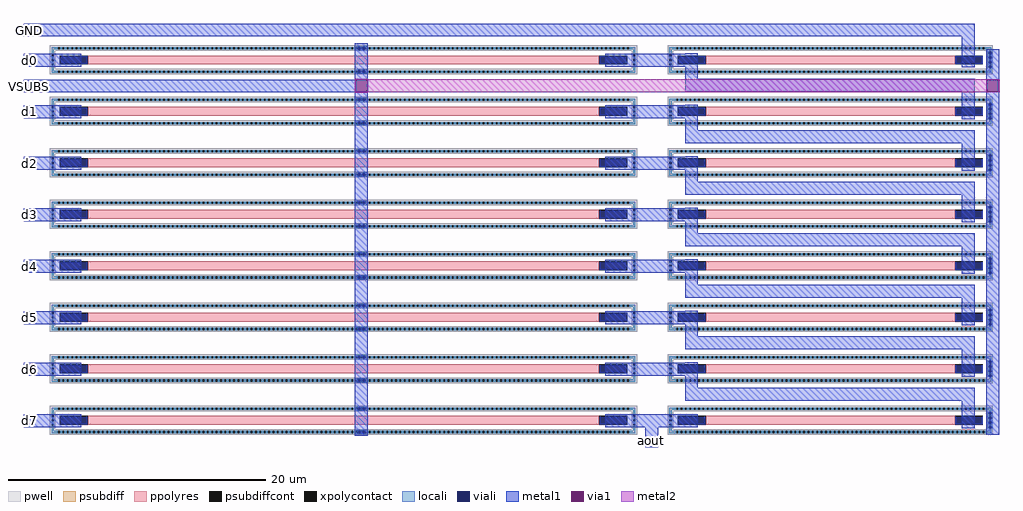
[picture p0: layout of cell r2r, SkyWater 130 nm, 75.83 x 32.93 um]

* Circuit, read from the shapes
.subckt r2r aout d7 d6 d5 d4 d3 d2 d1 d0 GND VSUBS
XR1 aout d7 VSUBS sky130_fd_pr__res_high_po w=0.69 l=39.74
XR2 n1 d6 VSUBS sky130_fd_pr__res_high_po w=0.69 l=39.74
XR3 n2 d5 VSUBS sky130_fd_pr__res_high_po w=0.69 l=39.74
XR4 n3 d4 VSUBS sky130_fd_pr__res_high_po w=0.69 l=39.74
XR5 n4 d3 VSUBS sky130_fd_pr__res_high_po w=0.69 l=39.74
XR6 n5 d2 VSUBS sky130_fd_pr__res_high_po w=0.69 l=39.74
XR7 n6 d1 VSUBS sky130_fd_pr__res_high_po w=0.69 l=39.74
XR8 n7 d0 VSUBS sky130_fd_pr__res_high_po w=0.69 l=39.74
XR9 n1 aout VSUBS sky130_fd_pr__res_high_po w=0.69 l=19.39
XR10 n2 n1 VSUBS sky130_fd_pr__res_high_po w=0.69 l=19.39
XR11 n3 n2 VSUBS sky130_fd_pr__res_high_po w=0.69 l=19.39
XR12 n4 n3 VSUBS sky130_fd_pr__res_high_po w=0.69 l=19.39
XR13 n5 n4 VSUBS sky130_fd_pr__res_high_po w=0.69 l=19.39
XR14 n6 n5 VSUBS sky130_fd_pr__res_high_po w=0.69 l=19.39
XR15 n7 n6 VSUBS sky130_fd_pr__res_high_po w=0.69 l=19.39
XR16 GND n7 VSUBS sky130_fd_pr__res_high_po w=0.69 l=19.39
.ends

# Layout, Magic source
magic
tech sky130A
magscale 1 2
<< locali >>
rect 4772 431 4932 448
rect 4772 397 4799 431
rect 4833 397 4871 431
rect 4905 397 4932 431
rect 4772 380 4932 397
rect 14586 361 14658 362
rect 14586 327 14605 361
rect 14639 327 14658 361
rect 14586 289 14658 327
rect 14586 255 14605 289
rect 14639 255 14658 289
rect 14586 217 14658 255
rect 14586 183 14605 217
rect 14639 183 14658 217
rect 14586 145 14658 183
rect 14586 111 14605 145
rect 14639 111 14658 145
rect 14586 110 14658 111
rect 4772 71 4932 88
rect 4772 37 4799 71
rect 4833 37 4871 71
rect 4905 37 4932 71
rect 4772 20 4932 37
rect 4772 -369 4932 -352
rect 4772 -403 4799 -369
rect 4833 -403 4871 -369
rect 4905 -403 4932 -369
rect 4772 -420 4932 -403
rect 14586 -439 14658 -438
rect 14586 -473 14605 -439
rect 14639 -473 14658 -439
rect 14586 -511 14658 -473
rect 14586 -545 14605 -511
rect 14639 -545 14658 -511
rect 14586 -583 14658 -545
rect 14586 -617 14605 -583
rect 14639 -617 14658 -583
rect 14586 -655 14658 -617
rect 14586 -689 14605 -655
rect 14639 -689 14658 -655
rect 14586 -690 14658 -689
rect 4772 -729 4932 -712
rect 4772 -763 4799 -729
rect 4833 -763 4871 -729
rect 4905 -763 4932 -729
rect 4772 -780 4932 -763
rect 4772 -1169 4932 -1152
rect 4772 -1203 4799 -1169
rect 4833 -1203 4871 -1169
rect 4905 -1203 4932 -1169
rect 4772 -1220 4932 -1203
rect 14586 -1239 14658 -1238
rect 14586 -1273 14605 -1239
rect 14639 -1273 14658 -1239
rect 14586 -1311 14658 -1273
rect 14586 -1345 14605 -1311
rect 14639 -1345 14658 -1311
rect 14586 -1383 14658 -1345
rect 14586 -1417 14605 -1383
rect 14639 -1417 14658 -1383
rect 14586 -1455 14658 -1417
rect 14586 -1489 14605 -1455
rect 14639 -1489 14658 -1455
rect 14586 -1490 14658 -1489
rect 4772 -1529 4932 -1512
rect 4772 -1563 4799 -1529
rect 4833 -1563 4871 -1529
rect 4905 -1563 4932 -1529
rect 4772 -1580 4932 -1563
rect 4772 -1969 4932 -1952
rect 4772 -2003 4799 -1969
rect 4833 -2003 4871 -1969
rect 4905 -2003 4932 -1969
rect 4772 -2020 4932 -2003
rect 14586 -2039 14658 -2038
rect 14586 -2073 14605 -2039
rect 14639 -2073 14658 -2039
rect 14586 -2111 14658 -2073
rect 14586 -2145 14605 -2111
rect 14639 -2145 14658 -2111
rect 14586 -2183 14658 -2145
rect 14586 -2217 14605 -2183
rect 14639 -2217 14658 -2183
rect 14586 -2255 14658 -2217
rect 14586 -2289 14605 -2255
rect 14639 -2289 14658 -2255
rect 14586 -2290 14658 -2289
rect 4772 -2329 4932 -2312
rect 4772 -2363 4799 -2329
rect 4833 -2363 4871 -2329
rect 4905 -2363 4932 -2329
rect 4772 -2380 4932 -2363
rect 4772 -2769 4932 -2752
rect 4772 -2803 4799 -2769
rect 4833 -2803 4871 -2769
rect 4905 -2803 4932 -2769
rect 4772 -2820 4932 -2803
rect 14586 -2839 14658 -2838
rect 14586 -2873 14605 -2839
rect 14639 -2873 14658 -2839
rect 14586 -2911 14658 -2873
rect 14586 -2945 14605 -2911
rect 14639 -2945 14658 -2911
rect 14586 -2983 14658 -2945
rect 14586 -3017 14605 -2983
rect 14639 -3017 14658 -2983
rect 14586 -3055 14658 -3017
rect 14586 -3089 14605 -3055
rect 14639 -3089 14658 -3055
rect 14586 -3090 14658 -3089
rect 4772 -3129 4932 -3112
rect 4772 -3163 4799 -3129
rect 4833 -3163 4871 -3129
rect 4905 -3163 4932 -3129
rect 4772 -3180 4932 -3163
rect 4772 -3569 4932 -3552
rect 4772 -3603 4799 -3569
rect 4833 -3603 4871 -3569
rect 4905 -3603 4932 -3569
rect 4772 -3620 4932 -3603
rect 14586 -3639 14658 -3638
rect 14586 -3673 14605 -3639
rect 14639 -3673 14658 -3639
rect 14586 -3711 14658 -3673
rect 14586 -3745 14605 -3711
rect 14639 -3745 14658 -3711
rect 14586 -3783 14658 -3745
rect 14586 -3817 14605 -3783
rect 14639 -3817 14658 -3783
rect 14586 -3855 14658 -3817
rect 14586 -3889 14605 -3855
rect 14639 -3889 14658 -3855
rect 14586 -3890 14658 -3889
rect 4772 -3929 4932 -3912
rect 4772 -3963 4799 -3929
rect 4833 -3963 4871 -3929
rect 4905 -3963 4932 -3929
rect 4772 -3980 4932 -3963
rect 4772 -4369 4932 -4352
rect 4772 -4403 4799 -4369
rect 4833 -4403 4871 -4369
rect 4905 -4403 4932 -4369
rect 4772 -4420 4932 -4403
rect 14586 -4439 14658 -4438
rect 14586 -4473 14605 -4439
rect 14639 -4473 14658 -4439
rect 14586 -4511 14658 -4473
rect 14586 -4545 14605 -4511
rect 14639 -4545 14658 -4511
rect 14586 -4583 14658 -4545
rect 14586 -4617 14605 -4583
rect 14639 -4617 14658 -4583
rect 14586 -4655 14658 -4617
rect 14586 -4689 14605 -4655
rect 14639 -4689 14658 -4655
rect 14586 -4690 14658 -4689
rect 4772 -4729 4932 -4712
rect 4772 -4763 4799 -4729
rect 4833 -4763 4871 -4729
rect 4905 -4763 4932 -4729
rect 4772 -4780 4932 -4763
rect 4772 -5169 4932 -5152
rect 4772 -5203 4799 -5169
rect 4833 -5203 4871 -5169
rect 4905 -5203 4932 -5169
rect 4772 -5220 4932 -5203
rect 14586 -5239 14658 -5238
rect 14586 -5273 14605 -5239
rect 14639 -5273 14658 -5239
rect 14586 -5311 14658 -5273
rect 14586 -5345 14605 -5311
rect 14639 -5345 14658 -5311
rect 14586 -5383 14658 -5345
rect 14586 -5417 14605 -5383
rect 14639 -5417 14658 -5383
rect 14586 -5455 14658 -5417
rect 14586 -5489 14605 -5455
rect 14639 -5489 14658 -5455
rect 14586 -5490 14658 -5489
rect 4772 -5529 4932 -5512
rect 4772 -5563 4799 -5529
rect 4833 -5563 4871 -5529
rect 4905 -5563 4932 -5529
rect 4772 -5580 4932 -5563
<< viali >>
rect 4799 397 4833 431
rect 4871 397 4905 431
rect 14605 327 14639 361
rect 14605 255 14639 289
rect 14605 183 14639 217
rect 14605 111 14639 145
rect 4799 37 4833 71
rect 4871 37 4905 71
rect 4799 -403 4833 -369
rect 4871 -403 4905 -369
rect 14605 -473 14639 -439
rect 14605 -545 14639 -511
rect 14605 -617 14639 -583
rect 14605 -689 14639 -655
rect 4799 -763 4833 -729
rect 4871 -763 4905 -729
rect 4799 -1203 4833 -1169
rect 4871 -1203 4905 -1169
rect 14605 -1273 14639 -1239
rect 14605 -1345 14639 -1311
rect 14605 -1417 14639 -1383
rect 14605 -1489 14639 -1455
rect 4799 -1563 4833 -1529
rect 4871 -1563 4905 -1529
rect 4799 -2003 4833 -1969
rect 4871 -2003 4905 -1969
rect 14605 -2073 14639 -2039
rect 14605 -2145 14639 -2111
rect 14605 -2217 14639 -2183
rect 14605 -2289 14639 -2255
rect 4799 -2363 4833 -2329
rect 4871 -2363 4905 -2329
rect 4799 -2803 4833 -2769
rect 4871 -2803 4905 -2769
rect 14605 -2873 14639 -2839
rect 14605 -2945 14639 -2911
rect 14605 -3017 14639 -2983
rect 14605 -3089 14639 -3055
rect 4799 -3163 4833 -3129
rect 4871 -3163 4905 -3129
rect 4799 -3603 4833 -3569
rect 4871 -3603 4905 -3569
rect 14605 -3673 14639 -3639
rect 14605 -3745 14639 -3711
rect 14605 -3817 14639 -3783
rect 14605 -3889 14639 -3855
rect 4799 -3963 4833 -3929
rect 4871 -3963 4905 -3929
rect 4799 -4403 4833 -4369
rect 4871 -4403 4905 -4369
rect 14605 -4473 14639 -4439
rect 14605 -4545 14639 -4511
rect 14605 -4617 14639 -4583
rect 14605 -4689 14639 -4655
rect 4799 -4763 4833 -4729
rect 4871 -4763 4905 -4729
rect 4799 -5203 4833 -5169
rect 4871 -5203 4905 -5169
rect 14605 -5273 14639 -5239
rect 14605 -5345 14639 -5311
rect 14605 -5417 14639 -5383
rect 14605 -5489 14639 -5455
rect 4799 -5563 4833 -5529
rect 4871 -5563 4905 -5529
<< metal1 >>
rect -400 600 14380 800
rect 4750 431 4950 496
rect 4750 397 4799 431
rect 4833 397 4871 431
rect 4905 397 4950 431
rect -400 130 500 330
rect 4750 71 4950 397
rect 9880 330 10080 336
rect 8636 130 10080 330
rect 4750 37 4799 71
rect 4833 37 4871 71
rect 4905 37 4950 71
rect 4750 -66 4950 37
rect 9880 -60 10080 130
rect 14180 118 14380 600
rect 14560 361 14760 398
rect 14560 327 14605 361
rect 14639 327 14760 361
rect 14560 289 14760 327
rect 14560 255 14605 289
rect 14639 255 14760 289
rect 14560 217 14760 255
rect 14560 183 14605 217
rect 14639 183 14760 217
rect 14560 145 14760 183
rect 14560 111 14605 145
rect 14639 111 14760 145
rect 4744 -70 4956 -66
rect -400 -76 4956 -70
rect -400 -256 4760 -76
rect 4940 -256 4956 -76
rect -400 -266 4956 -256
rect 9880 -260 14378 -60
rect -400 -270 4950 -266
rect 4750 -369 4950 -270
rect 4750 -403 4799 -369
rect 4833 -403 4871 -369
rect 4905 -403 4950 -369
rect -400 -670 500 -470
rect 4750 -729 4950 -403
rect 9880 -470 10080 -464
rect 8636 -670 10080 -470
rect 4750 -763 4799 -729
rect 4833 -763 4871 -729
rect 4905 -763 4950 -729
rect 4750 -1169 4950 -763
rect 9880 -860 10080 -670
rect 14178 -688 14378 -260
rect 14560 -76 14760 111
rect 14560 -256 14570 -76
rect 14750 -256 14760 -76
rect 14560 -439 14760 -256
rect 14560 -473 14605 -439
rect 14639 -473 14760 -439
rect 14560 -511 14760 -473
rect 14560 -545 14605 -511
rect 14639 -545 14760 -511
rect 14560 -583 14760 -545
rect 14560 -617 14605 -583
rect 14639 -617 14760 -583
rect 14560 -655 14760 -617
rect 14560 -689 14605 -655
rect 14639 -689 14760 -655
rect 9880 -1060 14378 -860
rect 4750 -1203 4799 -1169
rect 4833 -1203 4871 -1169
rect 4905 -1203 4950 -1169
rect -400 -1470 500 -1270
rect 4750 -1529 4950 -1203
rect 9880 -1270 10080 -1264
rect 8636 -1470 10080 -1270
rect 4750 -1563 4799 -1529
rect 4833 -1563 4871 -1529
rect 4905 -1563 4950 -1529
rect 4750 -1969 4950 -1563
rect 9880 -1660 10080 -1470
rect 14178 -1488 14378 -1060
rect 14560 -1239 14760 -689
rect 14560 -1273 14605 -1239
rect 14639 -1273 14760 -1239
rect 14560 -1311 14760 -1273
rect 14560 -1345 14605 -1311
rect 14639 -1345 14760 -1311
rect 14560 -1383 14760 -1345
rect 14560 -1417 14605 -1383
rect 14639 -1417 14760 -1383
rect 14560 -1455 14760 -1417
rect 14560 -1489 14605 -1455
rect 14639 -1489 14760 -1455
rect 9880 -1860 14378 -1660
rect 4750 -2003 4799 -1969
rect 4833 -2003 4871 -1969
rect 4905 -2003 4950 -1969
rect -400 -2270 500 -2070
rect 4750 -2329 4950 -2003
rect 9880 -2070 10080 -2064
rect 8636 -2270 10080 -2070
rect 4750 -2363 4799 -2329
rect 4833 -2363 4871 -2329
rect 4905 -2363 4950 -2329
rect 4750 -2769 4950 -2363
rect 9880 -2460 10080 -2270
rect 14178 -2288 14378 -1860
rect 14560 -2039 14760 -1489
rect 14560 -2073 14605 -2039
rect 14639 -2073 14760 -2039
rect 14560 -2111 14760 -2073
rect 14560 -2145 14605 -2111
rect 14639 -2145 14760 -2111
rect 14560 -2183 14760 -2145
rect 14560 -2217 14605 -2183
rect 14639 -2217 14760 -2183
rect 14560 -2255 14760 -2217
rect 14560 -2289 14605 -2255
rect 14639 -2289 14760 -2255
rect 9880 -2660 14378 -2460
rect 4750 -2803 4799 -2769
rect 4833 -2803 4871 -2769
rect 4905 -2803 4950 -2769
rect -400 -3070 500 -2870
rect 4750 -3129 4950 -2803
rect 9880 -2870 10080 -2864
rect 8636 -3070 10080 -2870
rect 4750 -3163 4799 -3129
rect 4833 -3163 4871 -3129
rect 4905 -3163 4950 -3129
rect 4750 -3569 4950 -3163
rect 9880 -3260 10080 -3070
rect 14178 -3088 14378 -2660
rect 14560 -2839 14760 -2289
rect 14560 -2873 14605 -2839
rect 14639 -2873 14760 -2839
rect 14560 -2911 14760 -2873
rect 14560 -2945 14605 -2911
rect 14639 -2945 14760 -2911
rect 14560 -2983 14760 -2945
rect 14560 -3017 14605 -2983
rect 14639 -3017 14760 -2983
rect 14560 -3055 14760 -3017
rect 14560 -3089 14605 -3055
rect 14639 -3089 14760 -3055
rect 9880 -3460 14378 -3260
rect 4750 -3603 4799 -3569
rect 4833 -3603 4871 -3569
rect 4905 -3603 4950 -3569
rect -400 -3870 500 -3670
rect 4750 -3929 4950 -3603
rect 9880 -3670 10080 -3664
rect 8636 -3870 10080 -3670
rect 4750 -3963 4799 -3929
rect 4833 -3963 4871 -3929
rect 4905 -3963 4950 -3929
rect 4750 -4369 4950 -3963
rect 9880 -4060 10080 -3870
rect 14178 -3888 14378 -3460
rect 14560 -3639 14760 -3089
rect 14560 -3673 14605 -3639
rect 14639 -3673 14760 -3639
rect 14560 -3711 14760 -3673
rect 14560 -3745 14605 -3711
rect 14639 -3745 14760 -3711
rect 14560 -3783 14760 -3745
rect 14560 -3817 14605 -3783
rect 14639 -3817 14760 -3783
rect 14560 -3855 14760 -3817
rect 14560 -3889 14605 -3855
rect 14639 -3889 14760 -3855
rect 9880 -4260 14378 -4060
rect 4750 -4403 4799 -4369
rect 4833 -4403 4871 -4369
rect 4905 -4403 4950 -4369
rect -400 -4670 500 -4470
rect 4750 -4729 4950 -4403
rect 9880 -4470 10080 -4464
rect 8636 -4670 10080 -4470
rect 4750 -4763 4799 -4729
rect 4833 -4763 4871 -4729
rect 4905 -4763 4950 -4729
rect 4750 -5169 4950 -4763
rect 9880 -4860 10080 -4670
rect 14178 -4688 14378 -4260
rect 14560 -4439 14760 -3889
rect 14560 -4473 14605 -4439
rect 14639 -4473 14760 -4439
rect 14560 -4511 14760 -4473
rect 14560 -4545 14605 -4511
rect 14639 -4545 14760 -4511
rect 14560 -4583 14760 -4545
rect 14560 -4617 14605 -4583
rect 14639 -4617 14760 -4583
rect 14560 -4655 14760 -4617
rect 14560 -4689 14605 -4655
rect 14639 -4689 14760 -4655
rect 9880 -5060 14378 -4860
rect 4750 -5203 4799 -5169
rect 4833 -5203 4871 -5169
rect 4905 -5203 4950 -5169
rect -400 -5470 500 -5270
rect 4750 -5529 4950 -5203
rect 8636 -5470 10080 -5270
rect 4750 -5563 4799 -5529
rect 4833 -5563 4871 -5529
rect 4905 -5563 4950 -5529
rect 4750 -5606 4950 -5563
rect 9260 -5786 9460 -5470
rect 14178 -5488 14378 -5060
rect 14560 -5239 14760 -4689
rect 14560 -5273 14605 -5239
rect 14639 -5273 14760 -5239
rect 14560 -5311 14760 -5273
rect 14560 -5345 14605 -5311
rect 14639 -5345 14760 -5311
rect 14560 -5383 14760 -5345
rect 14560 -5417 14605 -5383
rect 14639 -5417 14760 -5383
rect 14560 -5455 14760 -5417
rect 14560 -5489 14605 -5455
rect 14639 -5489 14760 -5455
rect 14560 -5590 14760 -5489
<< via1 >>
rect 4760 -256 4940 -76
rect 14570 -256 14750 -76
<< metal2 >>
rect 4750 -66 4950 -60
rect 4750 -76 14766 -66
rect 4750 -256 4760 -76
rect 4940 -256 14570 -76
rect 14750 -256 14766 -76
rect 4750 -266 14766 -256
rect 4750 -272 4950 -266
use sky130_fd_pr__res_high_po_0p69_5ANSK2  XR1
transform 0 1 4572 -1 0 235
box -225 -4562 225 4562
use sky130_fd_pr__res_high_po_0p69_5ANSK2  XR2
transform 0 1 4572 -1 0 -565
box -225 -4562 225 4562
use sky130_fd_pr__res_high_po_0p69_5ANSK2  XR3
transform 0 1 4572 -1 0 -1365
box -225 -4562 225 4562
use sky130_fd_pr__res_high_po_0p69_5ANSK2  XR4
transform 0 1 4572 -1 0 -2165
box -225 -4562 225 4562
use sky130_fd_pr__res_high_po_0p69_5ANSK2  XR5
transform 0 1 4572 -1 0 -2965
box -225 -4562 225 4562
use sky130_fd_pr__res_high_po_0p69_5ANSK2  XR6
transform 0 1 4572 -1 0 -3765
box -225 -4562 225 4562
use sky130_fd_pr__res_high_po_0p69_5ANSK2  XR7
transform 0 1 4572 -1 0 -4565
box -225 -4562 225 4562
use sky130_fd_pr__res_high_po_0p69_5ANSK2  XR8
transform 0 1 4572 -1 0 -5365
box -225 -4562 225 4562
use sky130_fd_pr__res_high_po_0p69_5G96UM  XR9
transform 0 1 12137 -1 0 235
box -225 -2527 225 2527
use sky130_fd_pr__res_high_po_0p69_5G96UM  XR10
transform 0 1 12137 -1 0 -565
box -225 -2527 225 2527
use sky130_fd_pr__res_high_po_0p69_5G96UM  XR11
transform 0 1 12137 -1 0 -1365
box -225 -2527 225 2527
use sky130_fd_pr__res_high_po_0p69_5G96UM  XR12
transform 0 1 12137 -1 0 -2165
box -225 -2527 225 2527
use sky130_fd_pr__res_high_po_0p69_5G96UM  XR13
transform 0 1 12137 -1 0 -2965
box -225 -2527 225 2527
use sky130_fd_pr__res_high_po_0p69_5G96UM  XR14
transform 0 1 12137 -1 0 -3765
box -225 -2527 225 2527
use sky130_fd_pr__res_high_po_0p69_5G96UM  XR15
transform 0 1 12137 -1 0 -4565
box -225 -2527 225 2527
use sky130_fd_pr__res_high_po_0p69_5G96UM  XR16
transform 0 1 12137 -1 0 -5365
box -225 -2527 225 2527
<< labels >>
flabel metal1 s 9260 -5786 9460 -5586 0 FreeSans 320 0 0 0 aout
port 1 nsew
flabel metal1 s -400 -5470 -200 -5270 0 FreeSans 320 0 0 0 d7
port 2 nsew
flabel metal1 s -400 -4670 -200 -4470 0 FreeSans 320 0 0 0 d6
port 3 nsew
flabel metal1 s -400 -3870 -200 -3670 0 FreeSans 320 0 0 0 d5
port 4 nsew
flabel metal1 s -400 -3070 -200 -2870 0 FreeSans 320 0 0 0 d4
port 5 nsew
flabel metal1 s -400 -2270 -200 -2070 0 FreeSans 320 0 0 0 d3
port 6 nsew
flabel metal1 s -400 -1470 -200 -1270 0 FreeSans 320 0 0 0 d2
port 7 nsew
flabel metal1 s -400 -670 -200 -470 0 FreeSans 320 0 0 0 d1
port 8 nsew
flabel metal1 s -400 130 -200 330 0 FreeSans 320 0 0 0 d0
port 9 nsew
flabel metal1 s -400 600 -200 800 0 FreeSans 320 0 0 0 GND
port 10 nsew
flabel metal1 s -400 -270 -200 -70 0 FreeSans 320 0 0 0 VSUBS
port 11 nsew
<< properties >>
string GDS_END 45798
string GDS_FILE /home/anton/projects/tt06-grab-bag/gds/tt_um_algofoogle_tt06_grab_bag.gds
string GDS_START 32528
<< end >>

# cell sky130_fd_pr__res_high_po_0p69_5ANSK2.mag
magic
tech sky130A
magscale 1 2
<< pwell >>
rect -225 4476 225 4562
rect -225 -4476 -139 4476
rect 139 -4476 225 4476
rect -225 -4562 225 -4476
<< psubdiff >>
rect -199 4502 -85 4536
rect -51 4502 -17 4536
rect 17 4502 51 4536
rect 85 4502 199 4536
rect -199 4437 -165 4502
rect 165 4437 199 4502
rect -199 4369 -165 4403
rect -199 4301 -165 4335
rect -199 4233 -165 4267
rect -199 4165 -165 4199
rect -199 4097 -165 4131
rect -199 4029 -165 4063
rect -199 3961 -165 3995
rect -199 3893 -165 3927
rect -199 3825 -165 3859
rect -199 3757 -165 3791
rect -199 3689 -165 3723
rect -199 3621 -165 3655
rect -199 3553 -165 3587
rect -199 3485 -165 3519
rect -199 3417 -165 3451
rect -199 3349 -165 3383
rect -199 3281 -165 3315
rect -199 3213 -165 3247
rect -199 3145 -165 3179
rect -199 3077 -165 3111
rect -199 3009 -165 3043
rect -199 2941 -165 2975
rect -199 2873 -165 2907
rect -199 2805 -165 2839
rect -199 2737 -165 2771
rect -199 2669 -165 2703
rect -199 2601 -165 2635
rect -199 2533 -165 2567
rect -199 2465 -165 2499
rect -199 2397 -165 2431
rect -199 2329 -165 2363
rect -199 2261 -165 2295
rect -199 2193 -165 2227
rect -199 2125 -165 2159
rect -199 2057 -165 2091
rect -199 1989 -165 2023
rect -199 1921 -165 1955
rect -199 1853 -165 1887
rect -199 1785 -165 1819
rect -199 1717 -165 1751
rect -199 1649 -165 1683
rect -199 1581 -165 1615
rect -199 1513 -165 1547
rect -199 1445 -165 1479
rect -199 1377 -165 1411
rect -199 1309 -165 1343
rect -199 1241 -165 1275
rect -199 1173 -165 1207
rect -199 1105 -165 1139
rect -199 1037 -165 1071
rect -199 969 -165 1003
rect -199 901 -165 935
rect -199 833 -165 867
rect -199 765 -165 799
rect -199 697 -165 731
rect -199 629 -165 663
rect -199 561 -165 595
rect -199 493 -165 527
rect -199 425 -165 459
rect -199 357 -165 391
rect -199 289 -165 323
rect -199 221 -165 255
rect -199 153 -165 187
rect -199 85 -165 119
rect -199 17 -165 51
rect -199 -51 -165 -17
rect -199 -119 -165 -85
rect -199 -187 -165 -153
rect -199 -255 -165 -221
rect -199 -323 -165 -289
rect -199 -391 -165 -357
rect -199 -459 -165 -425
rect -199 -527 -165 -493
rect -199 -595 -165 -561
rect -199 -663 -165 -629
rect -199 -731 -165 -697
rect -199 -799 -165 -765
rect -199 -867 -165 -833
rect -199 -935 -165 -901
rect -199 -1003 -165 -969
rect -199 -1071 -165 -1037
rect -199 -1139 -165 -1105
rect -199 -1207 -165 -1173
rect -199 -1275 -165 -1241
rect -199 -1343 -165 -1309
rect -199 -1411 -165 -1377
rect -199 -1479 -165 -1445
rect -199 -1547 -165 -1513
rect -199 -1615 -165 -1581
rect -199 -1683 -165 -1649
rect -199 -1751 -165 -1717
rect -199 -1819 -165 -1785
rect -199 -1887 -165 -1853
rect -199 -1955 -165 -1921
rect -199 -2023 -165 -1989
rect -199 -2091 -165 -2057
rect -199 -2159 -165 -2125
rect -199 -2227 -165 -2193
rect -199 -2295 -165 -2261
rect -199 -2363 -165 -2329
rect -199 -2431 -165 -2397
rect -199 -2499 -165 -2465
rect -199 -2567 -165 -2533
rect -199 -2635 -165 -2601
rect -199 -2703 -165 -2669
rect -199 -2771 -165 -2737
rect -199 -2839 -165 -2805
rect -199 -2907 -165 -2873
rect -199 -2975 -165 -2941
rect -199 -3043 -165 -3009
rect -199 -3111 -165 -3077
rect -199 -3179 -165 -3145
rect -199 -3247 -165 -3213
rect -199 -3315 -165 -3281
rect -199 -3383 -165 -3349
rect -199 -3451 -165 -3417
rect -199 -3519 -165 -3485
rect -199 -3587 -165 -3553
rect -199 -3655 -165 -3621
rect -199 -3723 -165 -3689
rect -199 -3791 -165 -3757
rect -199 -3859 -165 -3825
rect -199 -3927 -165 -3893
rect -199 -3995 -165 -3961
rect -199 -4063 -165 -4029
rect -199 -4131 -165 -4097
rect -199 -4199 -165 -4165
rect -199 -4267 -165 -4233
rect -199 -4335 -165 -4301
rect -199 -4403 -165 -4369
rect 165 4369 199 4403
rect 165 4301 199 4335
rect 165 4233 199 4267
rect 165 4165 199 4199
rect 165 4097 199 4131
rect 165 4029 199 4063
rect 165 3961 199 3995
rect 165 3893 199 3927
rect 165 3825 199 3859
rect 165 3757 199 3791
rect 165 3689 199 3723
rect 165 3621 199 3655
rect 165 3553 199 3587
rect 165 3485 199 3519
rect 165 3417 199 3451
rect 165 3349 199 3383
rect 165 3281 199 3315
rect 165 3213 199 3247
rect 165 3145 199 3179
rect 165 3077 199 3111
rect 165 3009 199 3043
rect 165 2941 199 2975
rect 165 2873 199 2907
rect 165 2805 199 2839
rect 165 2737 199 2771
rect 165 2669 199 2703
rect 165 2601 199 2635
rect 165 2533 199 2567
rect 165 2465 199 2499
rect 165 2397 199 2431
rect 165 2329 199 2363
rect 165 2261 199 2295
rect 165 2193 199 2227
rect 165 2125 199 2159
rect 165 2057 199 2091
rect 165 1989 199 2023
rect 165 1921 199 1955
rect 165 1853 199 1887
rect 165 1785 199 1819
rect 165 1717 199 1751
rect 165 1649 199 1683
rect 165 1581 199 1615
rect 165 1513 199 1547
rect 165 1445 199 1479
rect 165 1377 199 1411
rect 165 1309 199 1343
rect 165 1241 199 1275
rect 165 1173 199 1207
rect 165 1105 199 1139
rect 165 1037 199 1071
rect 165 969 199 1003
rect 165 901 199 935
rect 165 833 199 867
rect 165 765 199 799
rect 165 697 199 731
rect 165 629 199 663
rect 165 561 199 595
rect 165 493 199 527
rect 165 425 199 459
rect 165 357 199 391
rect 165 289 199 323
rect 165 221 199 255
rect 165 153 199 187
rect 165 85 199 119
rect 165 17 199 51
rect 165 -51 199 -17
rect 165 -119 199 -85
rect 165 -187 199 -153
rect 165 -255 199 -221
rect 165 -323 199 -289
rect 165 -391 199 -357
rect 165 -459 199 -425
rect 165 -527 199 -493
rect 165 -595 199 -561
rect 165 -663 199 -629
rect 165 -731 199 -697
rect 165 -799 199 -765
rect 165 -867 199 -833
rect 165 -935 199 -901
rect 165 -1003 199 -969
rect 165 -1071 199 -1037
rect 165 -1139 199 -1105
rect 165 -1207 199 -1173
rect 165 -1275 199 -1241
rect 165 -1343 199 -1309
rect 165 -1411 199 -1377
rect 165 -1479 199 -1445
rect 165 -1547 199 -1513
rect 165 -1615 199 -1581
rect 165 -1683 199 -1649
rect 165 -1751 199 -1717
rect 165 -1819 199 -1785
rect 165 -1887 199 -1853
rect 165 -1955 199 -1921
rect 165 -2023 199 -1989
rect 165 -2091 199 -2057
rect 165 -2159 199 -2125
rect 165 -2227 199 -2193
rect 165 -2295 199 -2261
rect 165 -2363 199 -2329
rect 165 -2431 199 -2397
rect 165 -2499 199 -2465
rect 165 -2567 199 -2533
rect 165 -2635 199 -2601
rect 165 -2703 199 -2669
rect 165 -2771 199 -2737
rect 165 -2839 199 -2805
rect 165 -2907 199 -2873
rect 165 -2975 199 -2941
rect 165 -3043 199 -3009
rect 165 -3111 199 -3077
rect 165 -3179 199 -3145
rect 165 -3247 199 -3213
rect 165 -3315 199 -3281
rect 165 -3383 199 -3349
rect 165 -3451 199 -3417
rect 165 -3519 199 -3485
rect 165 -3587 199 -3553
rect 165 -3655 199 -3621
rect 165 -3723 199 -3689
rect 165 -3791 199 -3757
rect 165 -3859 199 -3825
rect 165 -3927 199 -3893
rect 165 -3995 199 -3961
rect 165 -4063 199 -4029
rect 165 -4131 199 -4097
rect 165 -4199 199 -4165
rect 165 -4267 199 -4233
rect 165 -4335 199 -4301
rect 165 -4403 199 -4369
rect -199 -4502 -165 -4437
rect 165 -4502 199 -4437
rect -199 -4536 -85 -4502
rect -51 -4536 -17 -4502
rect 17 -4536 51 -4502
rect 85 -4536 199 -4502
<< psubdiffcont >>
rect -85 4502 -51 4536
rect -17 4502 17 4536
rect 51 4502 85 4536
rect -199 4403 -165 4437
rect -199 4335 -165 4369
rect -199 4267 -165 4301
rect -199 4199 -165 4233
rect -199 4131 -165 4165
rect -199 4063 -165 4097
rect -199 3995 -165 4029
rect -199 3927 -165 3961
rect -199 3859 -165 3893
rect -199 3791 -165 3825
rect -199 3723 -165 3757
rect -199 3655 -165 3689
rect -199 3587 -165 3621
rect -199 3519 -165 3553
rect -199 3451 -165 3485
rect -199 3383 -165 3417
rect -199 3315 -165 3349
rect -199 3247 -165 3281
rect -199 3179 -165 3213
rect -199 3111 -165 3145
rect -199 3043 -165 3077
rect -199 2975 -165 3009
rect -199 2907 -165 2941
rect -199 2839 -165 2873
rect -199 2771 -165 2805
rect -199 2703 -165 2737
rect -199 2635 -165 2669
rect -199 2567 -165 2601
rect -199 2499 -165 2533
rect -199 2431 -165 2465
rect -199 2363 -165 2397
rect -199 2295 -165 2329
rect -199 2227 -165 2261
rect -199 2159 -165 2193
rect -199 2091 -165 2125
rect -199 2023 -165 2057
rect -199 1955 -165 1989
rect -199 1887 -165 1921
rect -199 1819 -165 1853
rect -199 1751 -165 1785
rect -199 1683 -165 1717
rect -199 1615 -165 1649
rect -199 1547 -165 1581
rect -199 1479 -165 1513
rect -199 1411 -165 1445
rect -199 1343 -165 1377
rect -199 1275 -165 1309
rect -199 1207 -165 1241
rect -199 1139 -165 1173
rect -199 1071 -165 1105
rect -199 1003 -165 1037
rect -199 935 -165 969
rect -199 867 -165 901
rect -199 799 -165 833
rect -199 731 -165 765
rect -199 663 -165 697
rect -199 595 -165 629
rect -199 527 -165 561
rect -199 459 -165 493
rect -199 391 -165 425
rect -199 323 -165 357
rect -199 255 -165 289
rect -199 187 -165 221
rect -199 119 -165 153
rect -199 51 -165 85
rect -199 -17 -165 17
rect -199 -85 -165 -51
rect -199 -153 -165 -119
rect -199 -221 -165 -187
rect -199 -289 -165 -255
rect -199 -357 -165 -323
rect -199 -425 -165 -391
rect -199 -493 -165 -459
rect -199 -561 -165 -527
rect -199 -629 -165 -595
rect -199 -697 -165 -663
rect -199 -765 -165 -731
rect -199 -833 -165 -799
rect -199 -901 -165 -867
rect -199 -969 -165 -935
rect -199 -1037 -165 -1003
rect -199 -1105 -165 -1071
rect -199 -1173 -165 -1139
rect -199 -1241 -165 -1207
rect -199 -1309 -165 -1275
rect -199 -1377 -165 -1343
rect -199 -1445 -165 -1411
rect -199 -1513 -165 -1479
rect -199 -1581 -165 -1547
rect -199 -1649 -165 -1615
rect -199 -1717 -165 -1683
rect -199 -1785 -165 -1751
rect -199 -1853 -165 -1819
rect -199 -1921 -165 -1887
rect -199 -1989 -165 -1955
rect -199 -2057 -165 -2023
rect -199 -2125 -165 -2091
rect -199 -2193 -165 -2159
rect -199 -2261 -165 -2227
rect -199 -2329 -165 -2295
rect -199 -2397 -165 -2363
rect -199 -2465 -165 -2431
rect -199 -2533 -165 -2499
rect -199 -2601 -165 -2567
rect -199 -2669 -165 -2635
rect -199 -2737 -165 -2703
rect -199 -2805 -165 -2771
rect -199 -2873 -165 -2839
rect -199 -2941 -165 -2907
rect -199 -3009 -165 -2975
rect -199 -3077 -165 -3043
rect -199 -3145 -165 -3111
rect -199 -3213 -165 -3179
rect -199 -3281 -165 -3247
rect -199 -3349 -165 -3315
rect -199 -3417 -165 -3383
rect -199 -3485 -165 -3451
rect -199 -3553 -165 -3519
rect -199 -3621 -165 -3587
rect -199 -3689 -165 -3655
rect -199 -3757 -165 -3723
rect -199 -3825 -165 -3791
rect -199 -3893 -165 -3859
rect -199 -3961 -165 -3927
rect -199 -4029 -165 -3995
rect -199 -4097 -165 -4063
rect -199 -4165 -165 -4131
rect -199 -4233 -165 -4199
rect -199 -4301 -165 -4267
rect -199 -4369 -165 -4335
rect -199 -4437 -165 -4403
rect 165 4403 199 4437
rect 165 4335 199 4369
rect 165 4267 199 4301
rect 165 4199 199 4233
rect 165 4131 199 4165
rect 165 4063 199 4097
rect 165 3995 199 4029
rect 165 3927 199 3961
rect 165 3859 199 3893
rect 165 3791 199 3825
rect 165 3723 199 3757
rect 165 3655 199 3689
rect 165 3587 199 3621
rect 165 3519 199 3553
rect 165 3451 199 3485
rect 165 3383 199 3417
rect 165 3315 199 3349
rect 165 3247 199 3281
rect 165 3179 199 3213
rect 165 3111 199 3145
rect 165 3043 199 3077
rect 165 2975 199 3009
rect 165 2907 199 2941
rect 165 2839 199 2873
rect 165 2771 199 2805
rect 165 2703 199 2737
rect 165 2635 199 2669
rect 165 2567 199 2601
rect 165 2499 199 2533
rect 165 2431 199 2465
rect 165 2363 199 2397
rect 165 2295 199 2329
rect 165 2227 199 2261
rect 165 2159 199 2193
rect 165 2091 199 2125
rect 165 2023 199 2057
rect 165 1955 199 1989
rect 165 1887 199 1921
rect 165 1819 199 1853
rect 165 1751 199 1785
rect 165 1683 199 1717
rect 165 1615 199 1649
rect 165 1547 199 1581
rect 165 1479 199 1513
rect 165 1411 199 1445
rect 165 1343 199 1377
rect 165 1275 199 1309
rect 165 1207 199 1241
rect 165 1139 199 1173
rect 165 1071 199 1105
rect 165 1003 199 1037
rect 165 935 199 969
rect 165 867 199 901
rect 165 799 199 833
rect 165 731 199 765
rect 165 663 199 697
rect 165 595 199 629
rect 165 527 199 561
rect 165 459 199 493
rect 165 391 199 425
rect 165 323 199 357
rect 165 255 199 289
rect 165 187 199 221
rect 165 119 199 153
rect 165 51 199 85
rect 165 -17 199 17
rect 165 -85 199 -51
rect 165 -153 199 -119
rect 165 -221 199 -187
rect 165 -289 199 -255
rect 165 -357 199 -323
rect 165 -425 199 -391
rect 165 -493 199 -459
rect 165 -561 199 -527
rect 165 -629 199 -595
rect 165 -697 199 -663
rect 165 -765 199 -731
rect 165 -833 199 -799
rect 165 -901 199 -867
rect 165 -969 199 -935
rect 165 -1037 199 -1003
rect 165 -1105 199 -1071
rect 165 -1173 199 -1139
rect 165 -1241 199 -1207
rect 165 -1309 199 -1275
rect 165 -1377 199 -1343
rect 165 -1445 199 -1411
rect 165 -1513 199 -1479
rect 165 -1581 199 -1547
rect 165 -1649 199 -1615
rect 165 -1717 199 -1683
rect 165 -1785 199 -1751
rect 165 -1853 199 -1819
rect 165 -1921 199 -1887
rect 165 -1989 199 -1955
rect 165 -2057 199 -2023
rect 165 -2125 199 -2091
rect 165 -2193 199 -2159
rect 165 -2261 199 -2227
rect 165 -2329 199 -2295
rect 165 -2397 199 -2363
rect 165 -2465 199 -2431
rect 165 -2533 199 -2499
rect 165 -2601 199 -2567
rect 165 -2669 199 -2635
rect 165 -2737 199 -2703
rect 165 -2805 199 -2771
rect 165 -2873 199 -2839
rect 165 -2941 199 -2907
rect 165 -3009 199 -2975
rect 165 -3077 199 -3043
rect 165 -3145 199 -3111
rect 165 -3213 199 -3179
rect 165 -3281 199 -3247
rect 165 -3349 199 -3315
rect 165 -3417 199 -3383
rect 165 -3485 199 -3451
rect 165 -3553 199 -3519
rect 165 -3621 199 -3587
rect 165 -3689 199 -3655
rect 165 -3757 199 -3723
rect 165 -3825 199 -3791
rect 165 -3893 199 -3859
rect 165 -3961 199 -3927
rect 165 -4029 199 -3995
rect 165 -4097 199 -4063
rect 165 -4165 199 -4131
rect 165 -4233 199 -4199
rect 165 -4301 199 -4267
rect 165 -4369 199 -4335
rect 165 -4437 199 -4403
rect -85 -4536 -51 -4502
rect -17 -4536 17 -4502
rect 51 -4536 85 -4502
<< xpolycontact >>
rect -69 3974 69 4406
rect -69 -4406 69 -3974
<< ppolyres >>
rect -69 -3974 69 3974
<< locali >>
rect -199 4502 -85 4536
rect -51 4502 -17 4536
rect 17 4502 51 4536
rect 85 4502 199 4536
rect -199 4437 -165 4502
rect 165 4437 199 4502
rect -199 4369 -165 4403
rect -199 4301 -165 4335
rect -199 4233 -165 4267
rect -199 4165 -165 4199
rect -199 4097 -165 4131
rect -199 4029 -165 4063
rect -199 3961 -165 3995
rect 165 4369 199 4403
rect 165 4301 199 4335
rect 165 4233 199 4267
rect 165 4165 199 4199
rect 165 4097 199 4131
rect 165 4029 199 4063
rect -199 3893 -165 3927
rect -199 3825 -165 3859
rect -199 3757 -165 3791
rect -199 3689 -165 3723
rect -199 3621 -165 3655
rect -199 3553 -165 3587
rect -199 3485 -165 3519
rect -199 3417 -165 3451
rect -199 3349 -165 3383
rect -199 3281 -165 3315
rect -199 3213 -165 3247
rect -199 3145 -165 3179
rect -199 3077 -165 3111
rect -199 3009 -165 3043
rect -199 2941 -165 2975
rect -199 2873 -165 2907
rect -199 2805 -165 2839
rect -199 2737 -165 2771
rect -199 2669 -165 2703
rect -199 2601 -165 2635
rect -199 2533 -165 2567
rect -199 2465 -165 2499
rect -199 2397 -165 2431
rect -199 2329 -165 2363
rect -199 2261 -165 2295
rect -199 2193 -165 2227
rect -199 2125 -165 2159
rect -199 2057 -165 2091
rect -199 1989 -165 2023
rect -199 1921 -165 1955
rect -199 1853 -165 1887
rect -199 1785 -165 1819
rect -199 1717 -165 1751
rect -199 1649 -165 1683
rect -199 1581 -165 1615
rect -199 1513 -165 1547
rect -199 1445 -165 1479
rect -199 1377 -165 1411
rect -199 1309 -165 1343
rect -199 1241 -165 1275
rect -199 1173 -165 1207
rect -199 1105 -165 1139
rect -199 1037 -165 1071
rect -199 969 -165 1003
rect -199 901 -165 935
rect -199 833 -165 867
rect -199 765 -165 799
rect -199 697 -165 731
rect -199 629 -165 663
rect -199 561 -165 595
rect -199 493 -165 527
rect -199 425 -165 459
rect -199 357 -165 391
rect -199 289 -165 323
rect -199 221 -165 255
rect -199 153 -165 187
rect -199 85 -165 119
rect -199 17 -165 51
rect -199 -51 -165 -17
rect -199 -119 -165 -85
rect -199 -187 -165 -153
rect -199 -255 -165 -221
rect -199 -323 -165 -289
rect -199 -391 -165 -357
rect -199 -459 -165 -425
rect -199 -527 -165 -493
rect -199 -595 -165 -561
rect -199 -663 -165 -629
rect -199 -731 -165 -697
rect -199 -799 -165 -765
rect -199 -867 -165 -833
rect -199 -935 -165 -901
rect -199 -1003 -165 -969
rect -199 -1071 -165 -1037
rect -199 -1139 -165 -1105
rect -199 -1207 -165 -1173
rect -199 -1275 -165 -1241
rect -199 -1343 -165 -1309
rect -199 -1411 -165 -1377
rect -199 -1479 -165 -1445
rect -199 -1547 -165 -1513
rect -199 -1615 -165 -1581
rect -199 -1683 -165 -1649
rect -199 -1751 -165 -1717
rect -199 -1819 -165 -1785
rect -199 -1887 -165 -1853
rect -199 -1955 -165 -1921
rect -199 -2023 -165 -1989
rect -199 -2091 -165 -2057
rect -199 -2159 -165 -2125
rect -199 -2227 -165 -2193
rect -199 -2295 -165 -2261
rect -199 -2363 -165 -2329
rect -199 -2431 -165 -2397
rect -199 -2499 -165 -2465
rect -199 -2567 -165 -2533
rect -199 -2635 -165 -2601
rect -199 -2703 -165 -2669
rect -199 -2771 -165 -2737
rect -199 -2839 -165 -2805
rect -199 -2907 -165 -2873
rect -199 -2975 -165 -2941
rect -199 -3043 -165 -3009
rect -199 -3111 -165 -3077
rect -199 -3179 -165 -3145
rect -199 -3247 -165 -3213
rect -199 -3315 -165 -3281
rect -199 -3383 -165 -3349
rect -199 -3451 -165 -3417
rect -199 -3519 -165 -3485
rect -199 -3587 -165 -3553
rect -199 -3655 -165 -3621
rect -199 -3723 -165 -3689
rect -199 -3791 -165 -3757
rect -199 -3859 -165 -3825
rect -199 -3927 -165 -3893
rect -199 -3995 -165 -3961
rect 165 3961 199 3995
rect 165 3893 199 3927
rect 165 3825 199 3859
rect 165 3757 199 3791
rect 165 3689 199 3723
rect 165 3621 199 3655
rect 165 3553 199 3587
rect 165 3485 199 3519
rect 165 3417 199 3451
rect 165 3349 199 3383
rect 165 3281 199 3315
rect 165 3213 199 3247
rect 165 3145 199 3179
rect 165 3077 199 3111
rect 165 3009 199 3043
rect 165 2941 199 2975
rect 165 2873 199 2907
rect 165 2805 199 2839
rect 165 2737 199 2771
rect 165 2669 199 2703
rect 165 2601 199 2635
rect 165 2533 199 2567
rect 165 2465 199 2499
rect 165 2397 199 2431
rect 165 2329 199 2363
rect 165 2261 199 2295
rect 165 2193 199 2227
rect 165 2125 199 2159
rect 165 2057 199 2091
rect 165 1989 199 2023
rect 165 1921 199 1955
rect 165 1853 199 1887
rect 165 1785 199 1819
rect 165 1717 199 1751
rect 165 1649 199 1683
rect 165 1581 199 1615
rect 165 1513 199 1547
rect 165 1445 199 1479
rect 165 1377 199 1411
rect 165 1309 199 1343
rect 165 1241 199 1275
rect 165 1173 199 1207
rect 165 1105 199 1139
rect 165 1037 199 1071
rect 165 969 199 1003
rect 165 901 199 935
rect 165 833 199 867
rect 165 765 199 799
rect 165 697 199 731
rect 165 629 199 663
rect 165 561 199 595
rect 165 493 199 527
rect 165 425 199 459
rect 165 357 199 391
rect 165 289 199 323
rect 165 221 199 255
rect 165 153 199 187
rect 165 85 199 119
rect 165 17 199 51
rect 165 -51 199 -17
rect 165 -119 199 -85
rect 165 -187 199 -153
rect 165 -255 199 -221
rect 165 -323 199 -289
rect 165 -391 199 -357
rect 165 -459 199 -425
rect 165 -527 199 -493
rect 165 -595 199 -561
rect 165 -663 199 -629
rect 165 -731 199 -697
rect 165 -799 199 -765
rect 165 -867 199 -833
rect 165 -935 199 -901
rect 165 -1003 199 -969
rect 165 -1071 199 -1037
rect 165 -1139 199 -1105
rect 165 -1207 199 -1173
rect 165 -1275 199 -1241
rect 165 -1343 199 -1309
rect 165 -1411 199 -1377
rect 165 -1479 199 -1445
rect 165 -1547 199 -1513
rect 165 -1615 199 -1581
rect 165 -1683 199 -1649
rect 165 -1751 199 -1717
rect 165 -1819 199 -1785
rect 165 -1887 199 -1853
rect 165 -1955 199 -1921
rect 165 -2023 199 -1989
rect 165 -2091 199 -2057
rect 165 -2159 199 -2125
rect 165 -2227 199 -2193
rect 165 -2295 199 -2261
rect 165 -2363 199 -2329
rect 165 -2431 199 -2397
rect 165 -2499 199 -2465
rect 165 -2567 199 -2533
rect 165 -2635 199 -2601
rect 165 -2703 199 -2669
rect 165 -2771 199 -2737
rect 165 -2839 199 -2805
rect 165 -2907 199 -2873
rect 165 -2975 199 -2941
rect 165 -3043 199 -3009
rect 165 -3111 199 -3077
rect 165 -3179 199 -3145
rect 165 -3247 199 -3213
rect 165 -3315 199 -3281
rect 165 -3383 199 -3349
rect 165 -3451 199 -3417
rect 165 -3519 199 -3485
rect 165 -3587 199 -3553
rect 165 -3655 199 -3621
rect 165 -3723 199 -3689
rect 165 -3791 199 -3757
rect 165 -3859 199 -3825
rect 165 -3927 199 -3893
rect -199 -4063 -165 -4029
rect -199 -4131 -165 -4097
rect -199 -4199 -165 -4165
rect -199 -4267 -165 -4233
rect -199 -4335 -165 -4301
rect -199 -4403 -165 -4369
rect 165 -3995 199 -3961
rect 165 -4063 199 -4029
rect 165 -4131 199 -4097
rect 165 -4199 199 -4165
rect 165 -4267 199 -4233
rect 165 -4335 199 -4301
rect 165 -4403 199 -4369
rect -199 -4502 -165 -4437
rect 165 -4502 199 -4437
rect -199 -4536 -85 -4502
rect -51 -4536 -17 -4502
rect 17 -4536 51 -4502
rect 85 -4536 199 -4502
<< viali >>
rect -53 3992 53 4386
rect -53 -4387 53 -3993
<< metal1 >>
rect -59 4386 59 4400
rect -59 3992 -53 4386
rect 53 3992 59 4386
rect -59 3979 59 3992
rect -59 -3993 59 -3979
rect -59 -4387 -53 -3993
rect 53 -4387 59 -3993
rect -59 -4400 59 -4387
<< properties >>
string FIXED_BBOX -182 -4519 182 4519
string GDS_END 32492
string GDS_FILE /home/anton/projects/tt06-grab-bag/gds/tt_um_algofoogle_tt06_grab_bag.gds
string GDS_START 12520
<< end >>

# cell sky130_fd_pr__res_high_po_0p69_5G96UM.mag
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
